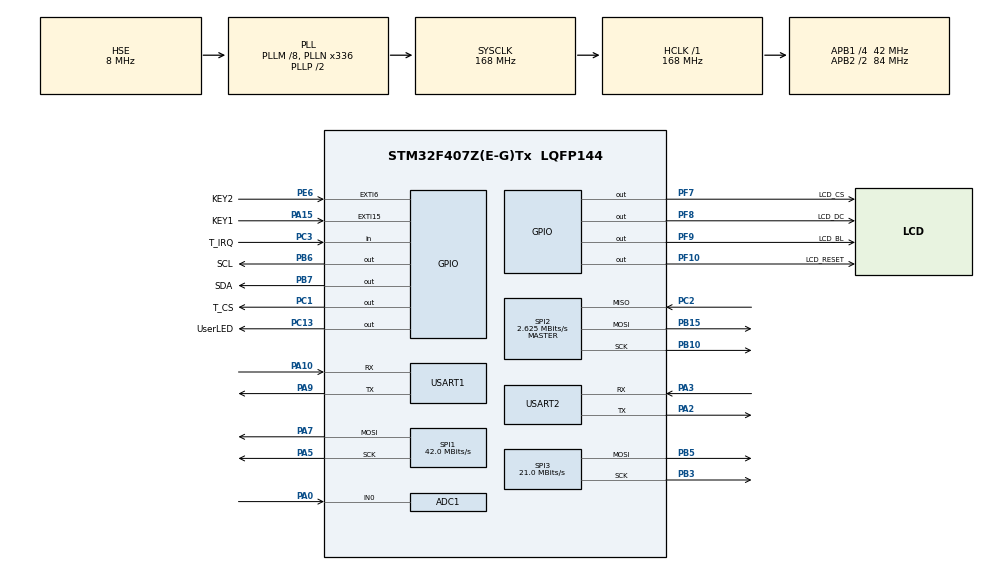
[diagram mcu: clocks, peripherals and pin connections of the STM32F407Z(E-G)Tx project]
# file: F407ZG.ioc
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ADC1.Channel-2\#ChannelRegularConversion=ADC_CHANNEL_0
ADC1.ClockPrescaler=ADC_CLOCK_SYNC_PCLK_DIV6
ADC1.InjNumberOfConversion=0
ADC1.NbrOfConversionFlag=1
ADC1.Rank-2\#ChannelRegularConversion=1
ADC1.SamplingTime-2\#ChannelRegularConversion=ADC_SAMPLETIME_3CYCLES
ADC1.master=1
Dma.Request0=USART1_RX
Dma.Request1=SPI3_TX
Dma.Request2=SPI1_TX
Dma.Request3=USART2_RX
Dma.Request4=USART2_TX
Dma.SPI1_TX.2.Direction=DMA_MEMORY_TO_PERIPH
Dma.SPI1_TX.2.FIFOMode=DMA_FIFOMODE_DISABLE
Dma.SPI1_TX.2.Instance=DMA2_Stream3
Dma.SPI1_TX.2.MemDataAlignment=DMA_MDATAALIGN_HALFWORD
Dma.SPI1_TX.2.MemInc=DMA_MINC_ENABLE
Dma.SPI1_TX.2.Mode=DMA_NORMAL
Dma.SPI1_TX.2.PeriphDataAlignment=DMA_PDATAALIGN_HALFWORD
Dma.SPI1_TX.2.PeriphInc=DMA_PINC_DISABLE
Dma.SPI1_TX.2.Priority=DMA_PRIORITY_LOW
Dma.SPI3_TX.1.Direction=DMA_MEMORY_TO_PERIPH
Dma.SPI3_TX.1.FIFOMode=DMA_FIFOMODE_DISABLE
Dma.SPI3_TX.1.Instance=DMA1_Stream7
Dma.SPI3_TX.1.MemDataAlignment=DMA_MDATAALIGN_BYTE
Dma.SPI3_TX.1.MemInc=DMA_MINC_ENABLE
Dma.SPI3_TX.1.Mode=DMA_NORMAL
Dma.SPI3_TX.1.PeriphDataAlignment=DMA_PDATAALIGN_BYTE
Dma.SPI3_TX.1.PeriphInc=DMA_PINC_DISABLE
Dma.SPI3_TX.1.Priority=DMA_PRIORITY_LOW
Dma.USART1_RX.0.Direction=DMA_PERIPH_TO_MEMORY
Dma.USART1_RX.0.FIFOMode=DMA_FIFOMODE_DISABLE
Dma.USART1_RX.0.Instance=DMA2_Stream2
Dma.USART1_RX.0.MemDataAlignment=DMA_MDATAALIGN_BYTE
Dma.USART1_RX.0.MemInc=DMA_MINC_ENABLE
Dma.USART1_RX.0.Mode=DMA_NORMAL
Dma.USART1_RX.0.PeriphDataAlignment=DMA_PDATAALIGN_BYTE
Dma.USART1_RX.0.PeriphInc=DMA_PINC_DISABLE
Dma.USART1_RX.0.Priority=DMA_PRIORITY_LOW
Dma.USART2_RX.3.Direction=DMA_PERIPH_TO_MEMORY
Dma.USART2_RX.3.FIFOMode=DMA_FIFOMODE_DISABLE
Dma.USART2_RX.3.Instance=DMA1_Stream5
Dma.USART2_RX.3.MemDataAlignment=DMA_MDATAALIGN_BYTE
Dma.USART2_RX.3.MemInc=DMA_MINC_ENABLE
Dma.USART2_RX.3.Mode=DMA_NORMAL
Dma.USART2_RX.3.PeriphDataAlignment=DMA_PDATAALIGN_BYTE
Dma.USART2_RX.3.PeriphInc=DMA_PINC_DISABLE
Dma.USART2_RX.3.Priority=DMA_PRIORITY_LOW
Dma.USART2_TX.4.Direction=DMA_MEMORY_TO_PERIPH
Dma.USART2_TX.4.FIFOMode=DMA_FIFOMODE_DISABLE
Dma.USART2_TX.4.Instance=DMA1_Stream6
Dma.USART2_TX.4.MemDataAlignment=DMA_MDATAALIGN_BYTE
Dma.USART2_TX.4.MemInc=DMA_MINC_ENABLE
Dma.USART2_TX.4.Mode=DMA_NORMAL
Dma.USART2_TX.4.PeriphDataAlignment=DMA_PDATAALIGN_BYTE
Dma.USART2_TX.4.PeriphInc=DMA_PINC_DISABLE
Dma.USART2_TX.4.Priority=DMA_PRIORITY_LOW
Mcu.Family=STM32F4
Mcu.Name=STM32F407Z(E-G)Tx
Mcu.Package=LQFP144
NVIC.DMA1_Stream5_IRQn=true\:6\:0\:true\:false\:true\:false\:true\:true
NVIC.DMA1_Stream6_IRQn=true\:6\:0\:true\:false\:true\:false\:true\:true
NVIC.DMA1_Stream7_IRQn=true\:6\:0\:true\:false\:true\:false\:true\:true
NVIC.DMA2_Stream2_IRQn=true\:6\:0\:true\:false\:true\:false\:true\:true
NVIC.DMA2_Stream3_IRQn=true\:6\:0\:true\:false\:true\:false\:true\:true
NVIC.EXTI15_10_IRQn=true\:6\:0\:true\:false\:true\:true\:true\:true
NVIC.EXTI9_5_IRQn=true\:6\:0\:true\:false\:true\:true\:true\:true
NVIC.PriorityGroup=NVIC_PRIORITYGROUP_4
NVIC.TIM7_IRQn=true\:1\:0\:true\:false\:true\:false\:true\:true
NVIC.TimeBase=TIM7_IRQn
NVIC.TimeBaseIP=TIM7
NVIC.USART1_IRQn=true\:5\:0\:true\:false\:true\:true\:true\:true
NVIC.USART2_IRQn=true\:6\:0\:true\:false\:true\:true\:true\:true
PA0-WKUP.Signal=ADCx_IN0
PA10.Mode=Asynchronous
PA10.Signal=USART1_RX
PA13.Mode=Serial_Wire
PA13.Signal=SYS_JTMS-SWDIO
PA14.Mode=Serial_Wire
PA14.Signal=SYS_JTCK-SWCLK
PA15.GPIO_Label=KEY1
PA15.GPIO_ModeDefaultEXTI=GPIO_MODE_IT_FALLING
PA15.GPIO_PuPd=GPIO_PULLUP
PA15.Signal=GPXTI15
PA2.Mode=Asynchronous
PA2.Signal=USART2_TX
PA3.Mode=Asynchronous
PA3.Signal=USART2_RX
PA5.Mode=TX_Only_Simplex_Unidirect_Master
PA5.Signal=SPI1_SCK
PA7.Mode=TX_Only_Simplex_Unidirect_Master
PA7.Signal=SPI1_MOSI
PA9.Mode=Asynchronous
PA9.Signal=USART1_TX
PB10.Mode=Full_Duplex_Master
PB10.Signal=SPI2_SCK
PB15.Mode=Full_Duplex_Master
PB15.Signal=SPI2_MOSI
PB3.Mode=TX_Only_Simplex_Unidirect_Master
PB3.Signal=SPI3_SCK
PB5.Mode=TX_Only_Simplex_Unidirect_Master
PB5.Signal=SPI3_MOSI
PB6.GPIO_Label=SCL
PB6.GPIO_ModeDefaultOutputPP=GPIO_MODE_OUTPUT_OD
PB6.GPIO_PuPd=GPIO_NOPULL
PB6.Signal=GPIO_Output
PB7.GPIO_Label=SDA
PB7.GPIO_ModeDefaultOutputPP=GPIO_MODE_OUTPUT_OD
PB7.GPIO_PuPd=GPIO_NOPULL
PB7.Signal=GPIO_Output
PC1.GPIO_Label=T_CS
PC1.GPIO_PuPd=GPIO_NOPULL
PC1.GPIO_Speed=GPIO_SPEED_FREQ_LOW
PC1.PinState=GPIO_PIN_SET
PC1.Signal=GPIO_Output
PC13-ANTI_TAMP.GPIO_Label=UserLED
PC13-ANTI_TAMP.PinState=GPIO_PIN_SET
PC13-ANTI_TAMP.Signal=GPIO_Output
PC14-OSC32_IN.Mode=LSE-External-Oscillator
PC14-OSC32_IN.Signal=RCC_OSC32_IN
PC15-OSC32_OUT.Mode=LSE-External-Oscillator
PC15-OSC32_OUT.Signal=RCC_OSC32_OUT
PC2.Mode=Full_Duplex_Master
PC2.Signal=SPI2_MISO
PC3.GPIO_Label=T_IRQ
PC3.GPIO_PuPd=GPIO_PULLUP
PC3.Signal=GPIO_Input
PE6.GPIO_Label=KEY2
PE6.GPIO_ModeDefaultEXTI=GPIO_MODE_IT_FALLING
PE6.GPIO_PuPd=GPIO_PULLUP
PE6.Signal=GPXTI6
PF10.GPIO_Label=LCD_RESET
PF10.Signal=GPIO_Output
PF7.GPIO_Label=LCD_CS
PF7.Signal=GPIO_Output
PF8.GPIO_Label=LCD_DC
PF8.Signal=GPIO_Output
PF9.GPIO_Label=LCD_BL
PF9.Signal=GPIO_Output
PH0-OSC_IN.Mode=HSE-External-Oscillator
PH0-OSC_IN.Signal=RCC_OSC_IN
PH1-OSC_OUT.Mode=HSE-External-Oscillator
PH1-OSC_OUT.Signal=RCC_OSC_OUT
ProjectManager.HeapSize=0x3000
ProjectManager.StackSize=0x2000
ProjectManager.TargetToolchain=MDK-ARM V5.32
RCC.48MHZClocksFreq_Value=48000000
RCC.AHBFreq_Value=168000000
RCC.APB1CLKDivider=RCC_HCLK_DIV4
RCC.APB1Freq_Value=42000000
RCC.APB1TimFreq_Value=84000000
RCC.APB2CLKDivider=RCC_HCLK_DIV2
RCC.APB2Freq_Value=84000000
RCC.APB2TimFreq_Value=168000000
RCC.CortexFreq_Value=168000000
RCC.HCLKFreq_Value=168000000
RCC.HSE_VALUE=8000000
RCC.HSI_VALUE=16000000
RCC.PLLM=8
RCC.PLLN=336
RCC.PLLQ=7
RCC.PLLSourceVirtual=RCC_PLLSOURCE_HSE
RCC.RCC_RTC_Clock_Source=RCC_RTCCLKSOURCE_LSE
RCC.RCC_RTC_Clock_SourceVirtual=RCC_RTCCLKSOURCE_LSE
RCC.SYSCLKFreq_VALUE=168000000
RCC.SYSCLKSource=RCC_SYSCLKSOURCE_PLLCLK
RCC.VCOOutputFreq_Value=336000000
SH.ADCx_IN0.0=ADC1_IN0,IN0
SPI1.CalculateBaudRate=42.0 MBits/s
SPI1.Direction=SPI_DIRECTION_2LINES
SPI1.Mode=SPI_MODE_MASTER
SPI1.VirtualType=VM_MASTER
SPI2.BaudRatePrescaler=SPI_BAUDRATEPRESCALER_16
SPI2.CalculateBaudRate=2.625 MBits/s
SPI2.Direction=SPI_DIRECTION_2LINES
SPI2.FirstBit=SPI_FIRSTBIT_MSB
SPI2.Mode=SPI_MODE_MASTER
SPI2.VirtualType=VM_MASTER
SPI3.CalculateBaudRate=21.0 MBits/s
SPI3.Direction=SPI_DIRECTION_2LINES
SPI3.Mode=SPI_MODE_MASTER
SPI3.VirtualType=VM_MASTER
TIM6.Period=65534
TIM6.Prescaler=83
USART1.VirtualMode=VM_ASYNC
USART2.VirtualMode=VM_ASYNC
VP_RTC_VS_RTC_Activate.Mode=RTC_Enabled
VP_SYS_VS_tim7.Mode=TIM7
VP_TIM6_VS_ClockSourceINT.Mode=Enable_Timer
board=custom

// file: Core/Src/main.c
/* USER CODE BEGIN Header */
/**
 ******************************************************************************
 * @file           : main.c
 * @brief          : Main program body
 ******************************************************************************
 * @attention
 *
 * Copyright (c) 2026 STMicroelectronics.
 * All rights reserved.
 *
 * This software is licensed under terms that can be found in the LICENSE file
 * in the root directory of this software component.
 * If no LICENSE file comes with this software, it is provided AS-IS.
 *
 ******************************************************************************
 */
/* USER CODE END Header */
#include "main.h"
#include "adc.h"
#include "dma.h"
#include "rtc.h"
#include "spi.h"
#include "tim.h"
#include "usart.h"
#include "gpio.h"

/* USER CODE BEGIN Includes */
#include "led.h"
#include "key.h"
#include "sht30.h"

// #include "lvgl.h"
// #include "lv_port_indev.h"
// #include "lv_port_lcd_stm32.h"
// #include "../lvgl/demos/lv_demos.h"
#include "xpt2046.h"
#include "FreeRTOS.h"
#include "task.h"
#include "mq2.h"
#include "freertos_demo.h"

/* USER CODE END Includes */

void SystemClock_Config(void);

/* USER CODE BEGIN 0 */

Sht30Data sht30_data;
uint32_t system_time = 0; // ms
uint32_t last_time = 0;   // ms
/* USER CODE END 0 */

int main(void)
{

  /* MCU Configuration--------------------------------------------------------*/

  /* Reset of all peripherals, Initializes the Flash interface and the Systick. */
  HAL_Init();

  /* Configure the system clock */
  SystemClock_Config();

  /* Initialize all configured peripherals */
  MX_GPIO_Init();
  MX_DMA_Init();
  MX_USART1_UART_Init();
  MX_SPI3_Init();
  MX_RTC_Init();
  MX_TIM6_Init();
  MX_SPI1_Init();
  MX_SPI2_Init();
  MX_ADC1_Init();
  MX_USART2_UART_Init();
  /* USER CODE BEGIN 2 */
  // HAL_UARTEx_ReceiveToIdle_DMA(&huart1, rx_buffer, RX_BUFFER_SIZE);
  HAL_TIM_Base_Start(&htim6);

  // lv_init();
  // lv_tick_set_cb(HAL_GetTick);
  // lv_port_disp_init();
  // lv_port_indev_init();
  // lv_demo_widgets();

  /* USER CODE END 2 */

  /* Infinite loop */
  /* USER CODE BEGIN WHILE */
  // for (int i = 0; i < 10; i++)
  // {
  //   HAL_GPIO_TogglePin(GPIOC, GPIO_PIN_13);
  //   HAL_Delay(500);
  // }
  freertos_start();
  //  HAL_GPIO_WritePin(GPIOC, GPIO_PIN_13, GPIO_PIN_SET);
  while (1)
  {
    // float mq2_ppm = MQ2_Getppm();
    // printf_dma("PPM: %0.2f\r\n", mq2_ppm);
    // HAL_Delay(500);
    // uint32_t tick = lv_timer_handler();
    // HAL_Delay(tick > 0 ? tick : 1);
    // HAL_Delay(5);
    // HAL_GPIO_TogglePin(GPIOC, GPIO_PIN_13);
    // HAL_Delay(500);
    // if (Touchpad_IsPressed())
    // {
    //   HAL_GPIO_TogglePin(GPIOC, GPIO_PIN_13);
    //   printf_dma("Touchpad Pressed: X=%d, Y=%d\r\n", (Touchpad_ReadRawX() * 240 / (RAW_X_MAX - RAW_X_MIN)),
    //              (Touchpad_ReadRawY() * 320 / (RAW_Y_MAX - RAW_Y_MIN)));
    //   HAL_Delay(100);
    // }
    /* USER CODE END WHILE */

    /* USER CODE BEGIN 3 */

    // KeyEvent_t event = Key_GetEvent();
    // if (event == KEY_1)
    // {
    //   HAL_GPIO_WritePin(GPIOC, GPIO_PIN_13, GPIO_PIN_RESET);
    //   HAL_UART_Transmit_DMA(&huart1, (uint8_t *)"KEY_1 Pressed\r\n", 15);
    //   // HAL_UART_Transmit(&huart1, (uint8_t *)"KEY_1 Pressed\r\n", 15, 1000);
    // }
    // else if (event == KEY_2)
    // {
    //   HAL_GPIO_WritePin(GPIOC, GPIO_PIN_13, GPIO_PIN_SET);
    //   HAL_UART_Transmit_DMA(&huart1, (uint8_t *)"KEY_2 Pressed\r\n", 15);
    //   // HAL_UART_Transmit(&huart1, (uint8_t *)"KEY_2 Pressed\r\n", 15, 1000);
    // }
    // if (Rxflag)
    // {
    //   Rxflag = 0;
    //   HAL_UART_Transmit_DMA(&huart1, rx_buffer, size);
    //   // HAL_UART_Transmit(&huart1, rx_buffer, strlen((char *)rx_buffer), 1000);
    // }

    // system_time = HAL_GetTick();
    // if (system_time - last_time >= 1500)
    // {
    //   last_time = system_time;
    //   sht30_data = Sht30_Getdata();
    //   printf_dma("Temperature: %.1f C, Humidity: %.1f %%\r\n", sht30_data.temp, sht30_data.humi);

    // }
    // system_time = HAL_GetTick();
    // if (system_time - last_time >= 1500)
    // {
    //   HAL_GPIO_TogglePin(GPIOC, GPIO_PIN_13);
    // }
  }
  /* USER CODE END 3 */
}

void SystemClock_Config(void)
{
  RCC_OscInitTypeDef RCC_OscInitStruct = {0};
  RCC_ClkInitTypeDef RCC_ClkInitStruct = {0};

  /** Configure the main internal regulator output voltage
   */
  __HAL_RCC_PWR_CLK_ENABLE();
  __HAL_PWR_VOLTAGESCALING_CONFIG(PWR_REGULATOR_VOLTAGE_SCALE1);

  /** Initializes the RCC Oscillators according to the specified parameters
   * in the RCC_OscInitTypeDef structure.
   */
  RCC_OscInitStruct.OscillatorType = RCC_OSCILLATORTYPE_HSE | RCC_OSCILLATORTYPE_LSE;
  RCC_OscInitStruct.HSEState = RCC_HSE_ON;
  RCC_OscInitStruct.LSEState = RCC_LSE_ON;
  RCC_OscInitStruct.PLL.PLLState = RCC_PLL_ON;
  RCC_OscInitStruct.PLL.PLLSource = RCC_PLLSOURCE_HSE;
  RCC_OscInitStruct.PLL.PLLM = 8;
  RCC_OscInitStruct.PLL.PLLN = 336;
  RCC_OscInitStruct.PLL.PLLP = RCC_PLLP_DIV2;
  RCC_OscInitStruct.PLL.PLLQ = 7;
  if (HAL_RCC_OscConfig(&RCC_OscInitStruct) != HAL_OK)
  {
    Error_Handler();
  }

  /** Initializes the CPU, AHB and APB buses clocks
   */
  RCC_ClkInitStruct.ClockType = RCC_CLOCKTYPE_HCLK | RCC_CLOCKTYPE_SYSCLK | RCC_CLOCKTYPE_PCLK1 | RCC_CLOCKTYPE_PCLK2;
  RCC_ClkInitStruct.SYSCLKSource = RCC_SYSCLKSOURCE_PLLCLK;
  RCC_ClkInitStruct.AHBCLKDivider = RCC_SYSCLK_DIV1;
  RCC_ClkInitStruct.APB1CLKDivider = RCC_HCLK_DIV4;
  RCC_ClkInitStruct.APB2CLKDivider = RCC_HCLK_DIV2;

  if (HAL_RCC_ClockConfig(&RCC_ClkInitStruct, FLASH_LATENCY_5) != HAL_OK)
  {
    Error_Handler();
  }
}

/* USER CODE BEGIN 4 */

void vApplicationIdleHook(void)
{
}

void vApplicationTickHook(void)
{
}

void vApplicationMallocFailedHook(void)
{
  taskDISABLE_INTERRUPTS();
  for (;;)
    ;
}

/*堆栈溢出函数*/
void vApplicationStackOverflowHook(TaskHandle_t xTask, char *pcTaskName)
{
  HAL_UART_Transmit(&huart1, (uint8_t *)"\r\n!!! STACK OVERFLOW !!!\r\n", 26, 100);
  HAL_UART_Transmit(&huart1, (uint8_t *)"Task: ", 6, 100);
  HAL_UART_Transmit(&huart1, (uint8_t *)pcTaskName, strlen(pcTaskName), 100);
  HAL_UART_Transmit(&huart1, (uint8_t *)"\r\n", 2, 100);
  HAL_GPIO_WritePin(GPIOC, GPIO_PIN_13, GPIO_PIN_RESET);
  taskDISABLE_INTERRUPTS();
  for (;;)
    ;
}

/* USER CODE END 4 */

void HAL_TIM_PeriodElapsedCallback(TIM_HandleTypeDef *htim)
{
  if (htim->Instance == TIM7)
  {
    HAL_IncTick();
  }
}

void Error_Handler(void)
{
  __disable_irq();
  while (1)
  {
  }
}
